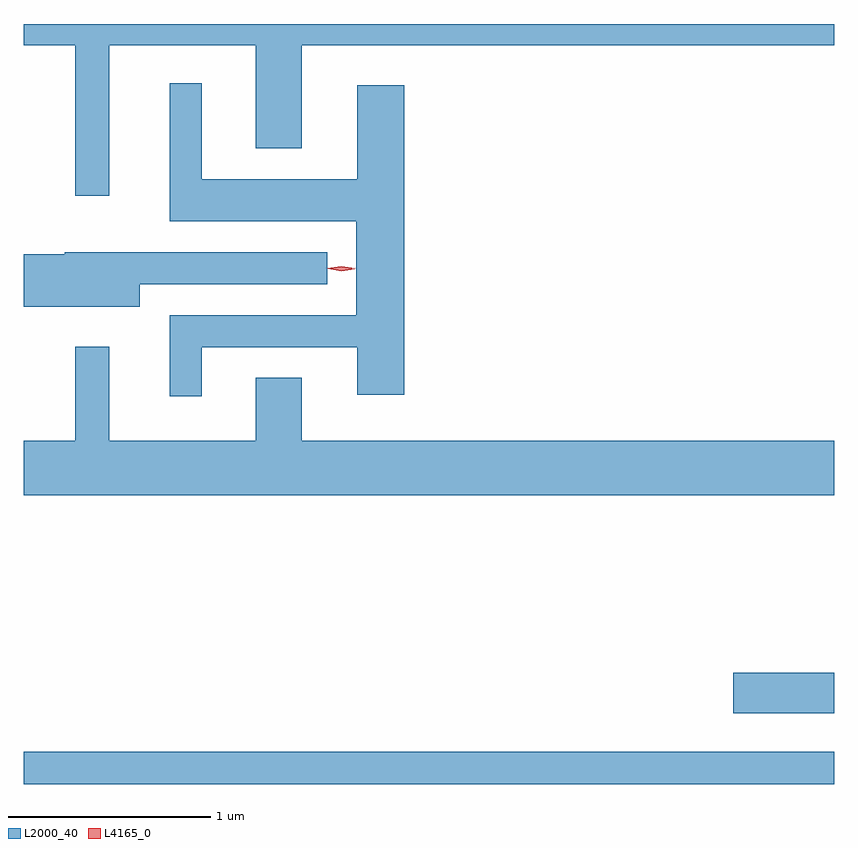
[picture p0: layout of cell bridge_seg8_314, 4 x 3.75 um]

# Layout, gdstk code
import gdstk
lib = gdstk.Library(unit=1e-6, precision=1e-09)
def R(c, l, rs):  # rectangles x0, y0, x1, y1
    for r in rs: c.add(gdstk.rectangle(r[:2], r[2:], *l))
def P(c, l, *ps):  # polygons
    for p in ps: c.add(gdstk.Polygon(p, *l))
L2000_40 = (2000, 40)
L4165_0 = (4165, 0)

bridge_seg8_314 = lib.new_cell('bridge_seg8_314')
R(bridge_seg8_314, L2000_40, [(1008.746,1914.911,1012.746,1915.069), (1012.246,1915.261,1012.746,1915.459)])
P(bridge_seg8_314, L2000_40, [(1009.169,1918.556),(1009.891,1918.556),(1009.891,1918.046),(1010.119,1918.046),(1010.119,1918.556),(1012.746,1918.556),(1012.746,1918.66),(1008.746,1918.66),(1008.746,1918.556),(1009.001,1918.556),(1009.001,1917.813),(1009.169,1917.813)],
  [(1009.624,1917.066),(1010.391,1917.066),(1010.391,1916.831),(1010.624,1916.831),(1010.624,1918.359),(1010.391,1918.359),(1010.391,1917.894),(1009.624,1917.894),(1009.624,1918.368),(1009.466,1918.368),(1009.466,1917.686),(1010.386,1917.686),(1010.386,1917.224),(1009.466,1917.224),(1009.466,1916.823),(1009.624,1916.823)],
  [(1009.319,1917.376),(1010.243,1917.376),(1010.243,1917.534),(1008.95,1917.534),(1008.95,1917.524),(1008.746,1917.524),(1008.746,1917.266),(1009.319,1917.266)],
  [(1012.746,1916.604),(1010.119,1916.604),(1010.119,1916.914),(1009.891,1916.914),(1009.891,1916.604),(1009.169,1916.604),(1009.169,1917.068),(1009.001,1917.068),(1009.001,1916.604),(1008.746,1916.604),(1008.746,1916.336),(1012.746,1916.336)])
P(bridge_seg8_314, L4165_0, [(1010.313,1917.445),(1010.244,1917.454),(1010.243,1917.455),(1010.244,1917.455),(1010.313,1917.465),(1010.382,1917.455),(1010.382,1917.455),(1010.382,1917.454)],
  [(1010.313,1917.441),(1010.248,1917.452),(1010.247,1917.452),(1010.248,1917.452),(1010.313,1917.461),(1010.379,1917.45),(1010.38,1917.449),(1010.379,1917.449)])

lib.write_gds('bridge_seg8_314.gds')
